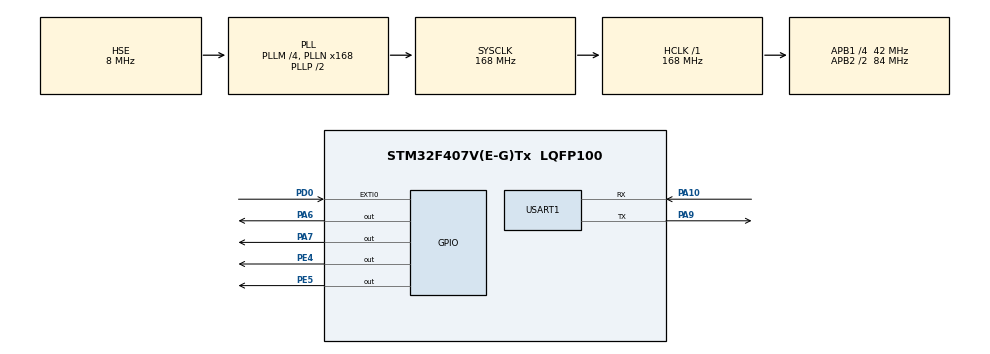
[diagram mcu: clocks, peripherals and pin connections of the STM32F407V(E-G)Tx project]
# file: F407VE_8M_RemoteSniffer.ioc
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Mcu.Family=STM32F4
Mcu.Name=STM32F407V(E-G)Tx
Mcu.Package=LQFP100
NVIC.EXTI0_IRQn=true\:0\:0\:false\:false\:true\:true\:true
NVIC.PriorityGroup=NVIC_PRIORITYGROUP_4
NVIC.USART1_IRQn=true\:0\:0\:false\:false\:true\:true\:true
PA10.Mode=Asynchronous
PA10.Signal=USART1_RX
PA13.Mode=Serial_Wire
PA13.Signal=SYS_JTMS-SWDIO
PA14.Mode=Serial_Wire
PA14.Signal=SYS_JTCK-SWCLK
PA6.GPIO_ModeDefaultOutputPP=GPIO_MODE_OUTPUT_PP
PA6.GPIO_PuPd=GPIO_PULLUP
PA6.GPIO_Speed=GPIO_SPEED_FREQ_VERY_HIGH
PA6.PinState=GPIO_PIN_SET
PA6.Signal=GPIO_Output
PA7.GPIO_ModeDefaultOutputPP=GPIO_MODE_OUTPUT_PP
PA7.GPIO_PuPd=GPIO_PULLUP
PA7.GPIO_Speed=GPIO_SPEED_FREQ_VERY_HIGH
PA7.PinState=GPIO_PIN_SET
PA7.Signal=GPIO_Output
PA9.Mode=Asynchronous
PA9.Signal=USART1_TX
PC14-OSC32_IN.Mode=LSE-External-Oscillator
PC14-OSC32_IN.Signal=RCC_OSC32_IN
PC15-OSC32_OUT.Mode=LSE-External-Oscillator
PC15-OSC32_OUT.Signal=RCC_OSC32_OUT
PD0.Signal=GPXTI0
PE4.GPIO_ModeDefaultOutputPP=GPIO_MODE_OUTPUT_PP
PE4.GPIO_PuPd=GPIO_PULLUP
PE4.GPIO_Speed=GPIO_SPEED_FREQ_VERY_HIGH
PE4.PinState=GPIO_PIN_SET
PE4.Signal=GPIO_Output
PE5.GPIO_ModeDefaultOutputPP=GPIO_MODE_OUTPUT_PP
PE5.GPIO_PuPd=GPIO_PULLUP
PE5.GPIO_Speed=GPIO_SPEED_FREQ_VERY_HIGH
PE5.PinState=GPIO_PIN_SET
PE5.Signal=GPIO_Output
PH0-OSC_IN.Mode=HSE-External-Oscillator
PH0-OSC_IN.Signal=RCC_OSC_IN
PH1-OSC_OUT.Mode=HSE-External-Oscillator
PH1-OSC_OUT.Signal=RCC_OSC_OUT
ProjectManager.HeapSize=0x200
ProjectManager.StackSize=0x400
ProjectManager.TargetToolchain=MDK-ARM V5.27
RCC.48MHZClocksFreq_Value=84000000
RCC.AHBFreq_Value=168000000
RCC.APB1CLKDivider=RCC_HCLK_DIV4
RCC.APB1Freq_Value=42000000
RCC.APB1TimFreq_Value=84000000
RCC.APB2CLKDivider=RCC_HCLK_DIV2
RCC.APB2Freq_Value=84000000
RCC.APB2TimFreq_Value=168000000
RCC.CortexFreq_Value=168000000
RCC.HCLKFreq_Value=168000000
RCC.HSE_VALUE=8000000
RCC.HSI_VALUE=16000000
RCC.PLLM=4
RCC.PLLN=168
RCC.PLLSourceVirtual=RCC_PLLSOURCE_HSE
RCC.SYSCLKFreq_VALUE=168000000
RCC.SYSCLKSource=RCC_SYSCLKSOURCE_PLLCLK
RCC.VCOOutputFreq_Value=336000000
USART1.VirtualMode=VM_ASYNC
board=custom

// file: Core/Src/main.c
/* USER CODE BEGIN Header */
/**
  ******************************************************************************
  * @file           : main.c
  * @brief          : Main program body
  ******************************************************************************
  * @attention
  *
  * <h2><center>&copy; Copyright (c) 2021 STMicroelectronics.
  * All rights reserved.</center></h2>
  *
  * This software component is licensed by ST under BSD 3-Clause license,
  * the "License"; You may not use this file except in compliance with the
  * License. You may obtain a copy of the License at:
  *                        opensource.org/licenses/BSD-3-Clause
  *
  ******************************************************************************
  */
/* USER CODE END Header */
#include "main.h"
#include "usart.h"
#include "gpio.h"

/* USER CODE BEGIN Includes */
#include "Si4463/SI446x.h"
#include "KEY/key.h"
#include "UTIL/mygpio.h"
/* USER CODE END Includes */

/* USER CODE BEGIN PD */
#define RECVLEN 32
#define TRIGTHRE 16
/* USER CODE END PD */

/* USER CODE BEGIN PV */
MyUARTHandle uart1;
uint8_t uartBuf1[100];
uint8_t rId = 0;
uint16_t dId = 0;
uint8_t remoteBuf[4];
uint64_t decodeBuf[RECVLEN];
uint8_t lastData = 0;
uint16_t trigCnt = 0;
uint8_t trigSt = 0; // 0: untriggered, 1: acquire, 2: stop
uint8_t threCnt = 0;
char hexTable[16] = {'0', '1', '2', '3', '4', '5', '6', '7', '8', '9', 'A', 'B', 'C', 'D', 'E', 'F'};
/* USER CODE END PV */

void SystemClock_Config(void);

/* USER CODE BEGIN 0 */
void HAL_GPIO_EXTI_Callback(uint16_t GPIO_Pin)
{
  uint8_t data, tmp;
  if (GPIO_Pin != SI4463_GPIO0_PIN || !SI4463_GPIO0_R())
    return;
  remoteBuf[rId++] = SI4463_GPIO1_R();
  rId %= 4;
  if(rId == 0)
  {
    if(trigSt == 2)
      return;
    data = remoteBuf[0] << 0 | remoteBuf[1] << 1 | remoteBuf[2] << 2 | remoteBuf[3] << 3;
    data &= 0xF;
    tmp = dId % 16;
    if(tmp == 0)
      decodeBuf[dId / 16] = 0;
    decodeBuf[dId / 16] |= (uint64_t)data << ((dId % 16) * 4);
    dId++;
    dId %= RECVLEN * 16;
  }
  if(trigSt == 0)
  {
    trigCnt = 0;
    if(data!=0x0 && data!= 0xF) // condition
    {
      if(threCnt >= TRIGTHRE)
        trigSt = 1;
      else
        threCnt++;
    }
  }
  else if(trigSt == 1)
  {
    if(trigCnt >= RECVLEN * 8) // half of the buffer
      trigSt = 2;
    else
      trigCnt++;
    threCnt = 0;
  }
}

uint8_t halfByte(uint8_t* start, uint32_t offset) // offset in bits
{
  uint8_t b, tmp;
  b = *(start + offset / 8);
  tmp = offset % 8;
  b >>= tmp;
  if(tmp > 4) // [5,7]
  {
    b &= (uint8_t)-1 >> tmp;
    b |= *(start + offset / 8 + 1) << (8 - tmp);
  }
  b &= 0xF;
  return b;
}

uint32_t pt2262(uint8_t* start, uint8_t* end, uint32_t offset) // offset in bits
{
  uint8_t curr;
  uint32_t i, len;
  if(end < start)
    return 0;
  len = (end - start + 1) * 8;
  i = offset;
  while(i < len) // find head and align
  {
    curr = halfByte(start, i);
    if(curr == 0x1 || curr == 0x7)
      break;
    i++;
  }
  if(i >= len)
    return 0;
  for(; i < len; i+=4) // output the rest
  {
    curr = halfByte(start, i);
    putchar(hexTable[curr]);
    if(curr != 0x1 && curr != 0x7)
      break;
  }
  return i;
}

void Set_GPIO(uint8_t isRx)
{
  GPIO_InitTypeDef GPIO_InitStruct = {0};
  uint8_t seq[8] = {0x13, 0x11, 0x04, 0x00, 0x00, 0x00, 0x00, 0x00};

  if(isRx)
  {
    GPIO_InitStruct.Mode = GPIO_MODE_INPUT;
    seq[2] = 0x14;
  }
  else
  {
    GPIO_InitStruct.Mode = GPIO_MODE_OUTPUT_PP;
  }
  SI446x_Write_Cmds(seq, 8);
  SI446x_Read_Response(seq, 8);

  GPIO_InitStruct.Pull = GPIO_PULLUP;
  GPIO_InitStruct.Speed = GPIO_SPEED_FREQ_VERY_HIGH;
  MyGPIO_Init(SI4463_GPIO1_PORT, SI4463_GPIO1_PIN, 1);
}

void SendTest(uint16_t delayus)
{
  uint16_t i, j;
  uint64_t buf[2] = {0x8b8b888b8b8bbbb8, 0x0000000b88888bb8};
  HAL_GPIO_WritePin(GPIOA, GPIO_PIN_6, GPIO_PIN_RESET);
  Set_GPIO(0);
  SI446x_Start_Tx(0, 0, PACKET_LENGTH);
  Delay_ms(120);
  for(i = 0; i < 5; i++)
  {
    for(j = 0; j < 124; j++)
    {
      SI4463_GPIO1_W(halfByte(buf, j) & 1);
      Delay_us(delayus);
    }
  }
  Delay_ms(1);
  HAL_GPIO_WritePin(GPIOA, GPIO_PIN_6, GPIO_PIN_SET);
}
/* USER CODE END 0 */

int main(void)
{
  /* USER CODE BEGIN 1 */
  uint32_t i, j;
  uint16_t* endPtr;
  uint64_t curr;
  uint16_t* ptr;
  uint32_t offset;
  /* USER CODE END 1 */

  /* MCU Configuration--------------------------------------------------------*/

  /* Reset of all peripherals, Initializes the Flash interface and the Systick. */
  HAL_Init();

  /* Configure the system clock */
  SystemClock_Config();

  /* Initialize all configured peripherals */
  MX_GPIO_Init();
  MX_USART1_UART_Init();
  /* USER CODE BEGIN 2 */
  Delay_Init(168);
  MyUART_Init(&uart1, USART1, uartBuf1, 100);
  Key_Init();
  printf("Si4463 Remote Sniffer Test\r\n");
  HAL_NVIC_DisableIRQ(EXTI0_IRQn);
  SI446x_Init();
  //HAL_NVIC_EnableIRQ(EXTI0_IRQn);

  Delay_ms(2000);

  SendTest(460);
  //HAL_TIM_PWM_Start_IT(&htim3, TIM_CHANNEL_4);
  //HAL_NVIC_DisableIRQ(EXTI0_IRQn);
  /* USER CODE END 2 */

  /* Infinite loop */
  while (1)
  {

    /* USER CODE BEGIN 3 */
    //Delay_ms(20);
    if(trigSt != 2)
      continue;
    for(endPtr = ((uint16_t*)&decodeBuf[RECVLEN - 1] + 3); endPtr > (uint16_t*)decodeBuf; endPtr--)
    {
      if(*endPtr != (uint16_t)-1 && *endPtr != 0)
        break;
    }
    ptr = (uint16_t*)decodeBuf; // %x is not compatible with uint64_t
    while(*ptr == (uint16_t)-1 || *ptr == 0)
      ptr++;
    if(ptr > (uint16_t*)decodeBuf)
      ptr--;
    offset = 0;
    while((offset = pt2262((uint8_t*)ptr, ((uint8_t*)endPtr + 1), offset)) != 0)
      printf("\r\n");
    printf("*******\r\n");

    for(i = 0; i < RECVLEN * 4; i++)
    {
      if(ptr > endPtr)
        break;
      curr = *(ptr++);
      for(j = 0; j < 4; j++)
      {
        putchar(hexTable[curr >> 4*j & 0xF]);
        if((j+1)%4==0)
          putchar(' ');
      }
      if((i+1)%4==0)
        printf("\r\n");
    }
    printf("\r\n-------------------------\r\n");
    trigSt = 0;
  }
  /* USER CODE END 3 */
}

void SystemClock_Config(void)
{
  RCC_OscInitTypeDef RCC_OscInitStruct = {0};
  RCC_ClkInitTypeDef RCC_ClkInitStruct = {0};

  /** Configure the main internal regulator output voltage
  */
  __HAL_RCC_PWR_CLK_ENABLE();
  __HAL_PWR_VOLTAGESCALING_CONFIG(PWR_REGULATOR_VOLTAGE_SCALE1);
  /** Initializes the RCC Oscillators according to the specified parameters
  * in the RCC_OscInitTypeDef structure.
  */
  RCC_OscInitStruct.OscillatorType = RCC_OSCILLATORTYPE_HSE;
  RCC_OscInitStruct.HSEState = RCC_HSE_ON;
  RCC_OscInitStruct.PLL.PLLState = RCC_PLL_ON;
  RCC_OscInitStruct.PLL.PLLSource = RCC_PLLSOURCE_HSE;
  RCC_OscInitStruct.PLL.PLLM = 4;
  RCC_OscInitStruct.PLL.PLLN = 168;
  RCC_OscInitStruct.PLL.PLLP = RCC_PLLP_DIV2;
  RCC_OscInitStruct.PLL.PLLQ = 4;
  if (HAL_RCC_OscConfig(&RCC_OscInitStruct) != HAL_OK)
  {
    Error_Handler();
  }
  /** Initializes the CPU, AHB and APB buses clocks
  */
  RCC_ClkInitStruct.ClockType = RCC_CLOCKTYPE_HCLK|RCC_CLOCKTYPE_SYSCLK
                              |RCC_CLOCKTYPE_PCLK1|RCC_CLOCKTYPE_PCLK2;
  RCC_ClkInitStruct.SYSCLKSource = RCC_SYSCLKSOURCE_PLLCLK;
  RCC_ClkInitStruct.AHBCLKDivider = RCC_SYSCLK_DIV1;
  RCC_ClkInitStruct.APB1CLKDivider = RCC_HCLK_DIV4;
  RCC_ClkInitStruct.APB2CLKDivider = RCC_HCLK_DIV2;

  if (HAL_RCC_ClockConfig(&RCC_ClkInitStruct, FLASH_LATENCY_5) != HAL_OK)
  {
    Error_Handler();
  }
}

void Error_Handler(void)
{
  __disable_irq();
  while (1)
  {
  }
}

/************************ (C) COPYRIGHT STMicroelectronics *****END OF FILE****/
